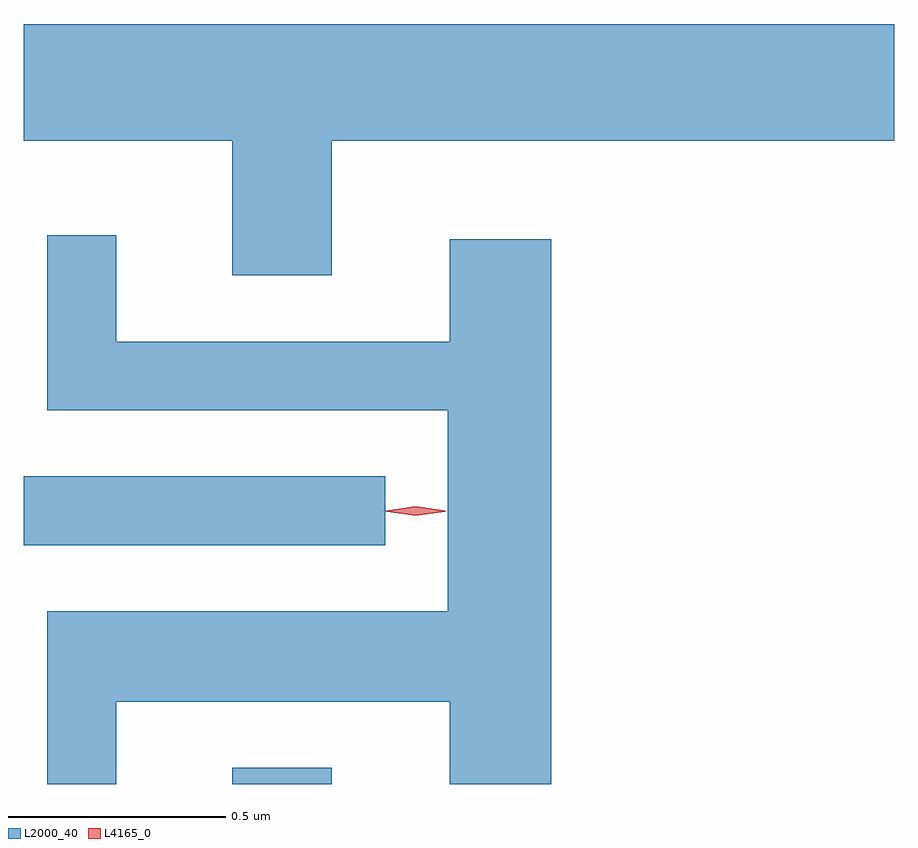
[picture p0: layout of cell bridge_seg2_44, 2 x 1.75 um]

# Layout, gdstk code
import gdstk
lib = gdstk.Library(unit=1e-6, precision=1e-09)
def R(c, l, rs):  # rectangles x0, y0, x1, y1
    for r in rs: c.add(gdstk.rectangle(r[:2], r[2:], *l))
def P(c, l, *ps):  # polygons
    for p in ps: c.add(gdstk.Polygon(p, *l))
L2000_40 = (2000, 40)
L4165_0 = (4165, 0)

bridge_seg2_44 = lib.new_cell('bridge_seg2_44')
R(bridge_seg2_44, L2000_40, [(1287.391,1026.857,1287.619,1026.894), (1286.912,1027.406,1287.743,1027.564)])
P(bridge_seg2_44, L2000_40, [(1287.619,1028.336),(1288.912,1028.336),(1288.912,1028.604),(1286.912,1028.604),(1286.912,1028.336),(1287.391,1028.336),(1287.391,1028.026),(1287.619,1028.026)],
  [(1287.124,1027.046),(1287.891,1027.046),(1287.891,1026.857),(1288.124,1026.857),(1288.124,1028.109),(1287.891,1028.109),(1287.891,1027.874),(1287.124,1027.874),(1287.124,1028.118),(1286.966,1028.118),(1286.966,1027.716),(1287.886,1027.716),(1287.886,1027.254),(1286.966,1027.254),(1286.966,1026.857),(1287.124,1026.857)])
P(bridge_seg2_44, L4165_0, [(1287.813,1027.475),(1287.744,1027.484),(1287.744,1027.485),(1287.744,1027.485),(1287.813,1027.495),(1287.882,1027.485),(1287.882,1027.485),(1287.882,1027.484)],
  [(1287.813,1027.474),(1287.747,1027.483),(1287.747,1027.484),(1287.747,1027.484),(1287.813,1027.494),(1287.879,1027.484),(1287.879,1027.484),(1287.879,1027.483)])

lib.write_gds('bridge_seg2_44.gds')
